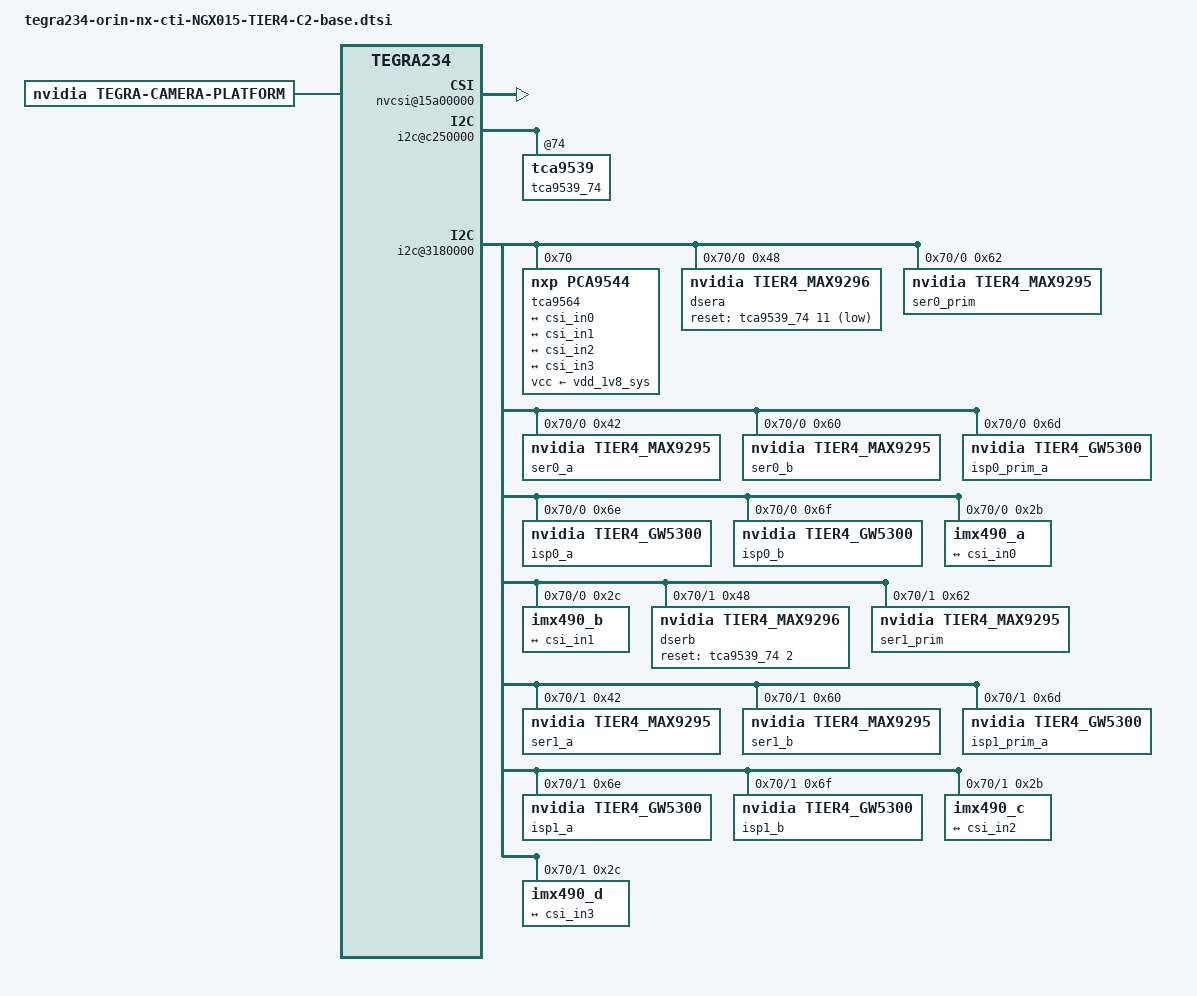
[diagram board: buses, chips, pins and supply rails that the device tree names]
/*
 * Copyright (c) 2022, Connect Tech Inc.  All rights reserved.
 *
 * This program is free software; you can redistribute it and/or modify it
 * under the terms and conditions of the GNU General Public License,
 * version 2, as published by the Free Software Foundation.
 *
 * This program is distributed in the hope it will be useful, but WITHOUT
 * ANY WARRANTY; without even the implied warranty of MERCHANTABILITY or
 * FITNESS FOR A PARTICULAR PURPOSE.  See the GNU General Public License for
 * more details.
 *
 * You should have received a copy of the GNU General Public License
 * along with this program.  If not, see <http://www.gnu.org/licenses/>.
 */

#include "dt-bindings/clock/tegra234-clock.h"

#define CAM_LANES 4
#define NUM_LANES "4"
#define BUS_WIDTH 4

//fsync modes
#define MASTER_MODE_10FPS 0
#define SLAVE_MODE_10FPS  1
#define MASTER_MODE_20FPS 2
#define SLAVE_MODE_20FPS  3
#define MASTER_MODE_30FPS 4
#define SLAVE_MODE_30FPS  5
#define SLAVE_MODE_10FPS_SLOW 6
#define MASTER_MODE_10FPS_SLOW 7

#define VC_ID0 "0"
#define VC_ID1 "1"
#define VC_ID0_PORTS 0 
#define VC_ID1_PORTS 1
#define DES_MCLK_MHZ 2000 
#define SERDES_PIX_CLK_HZ "500000000" 
#define SENSOR_MODE0 mode0 { \
                vc_id = VC_ID; \
                num_lanes = NUM_LANES; \
                tegra_sinterface = TEGRA_SINTERFACE; \
                lane_polarity = LANE_POLARITY; \
                mclk_khz = "24000"; \
                discontinuous_clk = "no"; \
                dpcm_enable = "false"; \
                phy_mode = "DPHY"; \
                cil_settletime = "0"; \
                dynamic_pixel_bit_depth = "16"; \
                csi_pixel_bit_depth = "16"; \
                mode_type = "yuv"; \
                pixel_phase = "uyvy"; \
                active_w = "2880"; \
                active_h = "1860"; \
                readout_orientation = "0"; \
                line_length = "2250"; \
                inherent_gain = "1"; \
                pix_clk_hz = "757"; \
                serdes_pix_clk_hz = SERDES_PIX_CLK_HZ; \
                gain_factor = "10"; \
                min_gain_val = "0"; \
                max_gain_val = "300"; \
                step_gain_val = "3"; \
                default_gain = "0"; \
                min_hdr_ratio = "1"; \
                max_hdr_ratio = "1"; \
                framerate_factor = "1000000"; \
                min_framerate = "30000000"; \
                max_framerate = "30000000"; \
                step_framerate = "1"; \
                default_framerate = "30000000"; \
                exposure_factor = "1000000"; \
                min_exp_time = "24"; \
                max_exp_time = "33333"; \
                step_exp_time = "1"; \
                default_exp_time = "33333"; \
                embedded_metadata_height = "0"; \
                deskew_initial_enable = "true"; \
                };

#define SENSOR_COMMON   \
                def-addr = <0x1a>; \
                mclk = "extperiph1"; \
                clocks = <&bpmp 36U>, <&bpmp 36U>; \
                clock-names = "extperiph1","pllp_grtba"; \
                compatible = "nvidia,tier4_imx490"; \
                physical_w = "15.0"; \
                physical_h = "12.5"; \
                sensor_model = "imx490"; \
                fsync-mode = <MASTER_MODE_30FPS>; \
                distortion-correction = "false"; \
                auto-exposure = "true"; \
                post_crop_frame_drop = "0"; \
                use_decibel_gain = "true"; \
                use_sensor_mode_id = "true";

&cti_polaris_coaxA{
    regulator-always-on;
};
&cti_polaris_coaxB{
    regulator-always-on;
};
&cti_polaris_coaxC{
    regulator-always-on;
};
&cti_polaris_coaxD{
    regulator-always-on;
};

/ {

    tegra-capture-vi {
        status = "okay";
        num-channels = <4>;
        ports {
	    #address-cells = <1>;
	    #size-cells = <0>;
	    status = "okay";
            port@0 {
		reg = <0>;
                status = "okay";
                vi_in0: endpoint {
		            vc-id = <VC_ID0_PORTS>;
                    port-index = <0>;
                    status = "okay";
                    bus-width = <4>;
		    remote-endpoint = <&csi_out0>;
                };
            };
            port@1 {
                status = "okay";
                reg = <1>;
                vi_in1: endpoint {
                    vc-id = <VC_ID1_PORTS>;
                    port-index = <0>;
                    status = "okay";
                    bus-width = <4>;
                    remote-endpoint = <&csi_out1>;
                };
            };
            port@2 {
                status = "okay";
                reg = <2>;
                vi_in2: endpoint {
                    vc-id = <VC_ID0_PORTS>;
                    port-index = <2>;
                    status = "okay";
                    bus-width = <4>;
                    remote-endpoint = <&csi_out2>;
                };
                
            };
            port@3 {
                status = "okay";
                reg = <3>;
                vi_in3: endpoint {
                    vc-id = <VC_ID1_PORTS>;
                    port-index = <2>;
                    status = "okay";
                    bus-width = <4>;
                    remote-endpoint = <&csi_out3>;
                };

            };


    };
    };

    host1x@13e00000 {
        nvcsi@15a00000 {
	    num-channels = <4>;
	    #address-cells = <1>;
	    #size-cells = <0>;
            status = "okay";
            channel@0 {
                status = "okay";
		        reg = <0>;
                ports {
		            #address-cells = <1>;
		            #size-cells = <0>;
                    port@0 {
                        status = "okay";
		            	reg = <0>;
                        csi_in0: endpoint@0 {
                            status = "okay";
                            port-index = <0>;
			                bus-width = <4>;
                            remote-endpoint = <&cam_out0>;
                        };
                    };
                    port@1 {
                        status = "okay";
		            	reg = <1>;
                        csi_out0: endpoint@1 {
                            status = "okay";
			                port-index = <0>;
			                bus-width = <4>;
			                remote-endpoint = <&vi_in0>;
                        };
                    };
                };
            };
            channel@1 {
                status = "okay";
            reg = <1>;
            ports {
                #address-cells = <1>;
                #size-cells = <0>;

                port@0 {
                            reg = <0>;
                            status = "okay";
                            csi_in1: endpoint@2 {
                                status = "okay";
                                port-index = <0>;
                                bus-width = <4>;
                                remote-endpoint = <&cam_out1>;
                            };
                        };
                        port@1 {
                            status = "okay";
                              reg = <1>;
                            csi_out1: endpoint@3 {
                                status = "okay";
                    port-index = <0>;
                    bus-width = <4>;
                    remote-endpoint = <&vi_in1>;
                            };
                        };
                    };
                };
            channel@2 {
                status = "okay";
            reg = <2>;
            ports {
                #address-cells = <1>;
                #size-cells = <0>;

                port@0 {
                            reg = <0>;
                            status = "okay";
                            csi_in2: endpoint@4 {
                                status = "okay";
                                port-index = <2>;
                                bus-width = <4>;
                                remote-endpoint = <&cam_out2>;
                            };
                        };
                        port@1 {
                            status = "okay";
                              reg = <1>;
                            csi_out2: endpoint@5 {
                                status = "okay";
                    port-index = <2>;
                    bus-width = <4>;
                    remote-endpoint = <&vi_in2>;
                            };
                        };
                    };
                };
            channel@3{
                status = "okay";
            reg = <3>;
            ports {
                #address-cells = <1>;
                #size-cells = <0>;

                port@0 {
                            reg = <0>;
                            status = "okay";
                            csi_in3: endpoint@6 {
                                status = "okay";
                                port-index = <2>;
                                bus-width = <4>;
                                remote-endpoint = <&cam_out3>;
                            };
                        };
                        port@1 {
                            status = "okay";
                              reg = <1>;
                            csi_out3: endpoint@7 {
                                status = "okay";
                    port-index = <2>;
                    bus-width = <4>;
                    remote-endpoint = <&vi_in3>;
                            };
                        };
                    };
                };

            };
    };
    i2c@c250000 {

        tca9539_74:tca9539@74 {
            gpio-line-names = "RST_A","PWDN_A","RST_B","PWDN_B","TEMP_SNS_PEN","CAM_PRST#_A","CAM_PRST#_B","CAM_PRST#_C", 
            "CAM_PRST#_D", "CFG_CTRL_Nch", "CFG_CTRL_Pch","DES_STATE_RSTA", "DES_STATE_RSTB";
            tca9539_74_outlow {
                status = "okay";
                gpio-hog;
                gpios = <0 0 1 0 2 0 3 0 4 0 9 0 10 0>;
                output-low;
                line-name = "RST_A","PWDN_A","RST_B","PWDN_B","TEMP_SNS_PEN", "CFG_CTRL_Nch", "CFG_CTRL_Pch";
            };
            tca9539_74_outhigh {
                status = "okay";
                gpio-hog;
                gpios = < 5 0 6 0 7 0 8 0 11 0 12 0>;
                output-high;
                line-name = "CAM_PRST#_A","CAM_PRST#_B","CAM_PRST#_C", "CAM_PRST#_D","DES_STATE_RSTA", "DES_STATE_RSTB";
            };
            tca9539_74_input {
                status = "disabled";
            };

        };
    };



    i2c@3180000 {
	status = "okay";
	#address-cells = <1>;
	#size-cells = <0>;
        tca9564@70 {
	    status = "okay";
	    compatible = "nxp,pca9544";
	    reg = <0x70>;
	    #address-cells = <1>;
	    #size-cells = <0>;
	    vcc-supply = <&vdd_1v8_sys>;
	    //skip_mux_detect;
	    force_bus_start = <0x28>;
       i2c@0 {
        status = "okay";
		reg = <0>;
		i2c-mux,deselect-on-exit;
		#address-cells = <1>;
		#size-cells = <0>;

        dsera: max9296@48 {
           compatible = "nvidia,tier4_max9296";
            status = "okay";
            reg = <0x48>;
            csi-mode = "2x4";
            max-src = <2>;

            clk-mhz = <DES_MCLK_MHZ>;
            reset-gpios = <&tca9539_74 11 GPIO_ACTIVE_LOW>;
        };
        ser0_prim: max9295_prim@62 {
            compatible = "nvidia,tier4_max9295";
            reg = <0x62>;
            is-prim-ser;
            status = "okay";
        };
        ser0_a: max9295_a@42 {
            compatible = "nvidia,tier4_max9295";
            reg = <0x42>;
            nvidia,gmsl-dser-device = <&dsera>;
            status = "okay";
            //vc-id = <0>;
        };
        ser0_b: max9295_b@60 {
            compatible = "nvidia,tier4_max9295";
            reg = <0x60>;
            nvidia,gmsl-dser-device = <&dsera>;
            status = "okay";
            //vc-id = <1>;
        };
        isp0_prim_a: gw5300_prim@6d {
            compatible = "nvidia,tier4_gw5300";
            status = "okay";
            reg = <0x6d>;
            is-prim-isp;
        };

        isp0_a: gw5300_a@6e {
            compatible = "nvidia,tier4_gw5300";
            status = "okay";
            reg = <0x6e>;
        };
        isp0_b: gw5300_b@6f {
            compatible = "nvidia,tier4_gw5300";
            status = "okay";
            reg = <0x6f>;
        };





#define LANE_POLARITY "6"
#define TEGRA_SINTERFACE "serial_a"
        imx490_a@2b {            
            nvidia,isp-device = <&isp0_a>;
            nvidia,gmsl-ser-device = <&ser0_a>;
            nvidia,gmsl-dser-device = <&dsera>;
            reg = <0x2b>;
            status = "okay";

            reg_mux = <0>;
           
            SENSOR_COMMON

            #define VC_ID VC_ID0
            SENSOR_MODE0
            
            
            ports {
                #address-cells = <1>;
                #size-cells = <0>;
                port@0 {
                    reg = <0>;
                    cam_out0: endpoint {
                        vc-id = <0>;
                        port-index = <0>;
                        bus-width = <BUS_WIDTH>;
                        remote-endpoint = <&csi_in0>;
                    };
                };
            };
            gmsl-link {
                src-csi-port = "b";     /* Port at which sensor is connected to its serializer device. */
                dst-csi-port = "a";     /* Destination CSI port on the Jetson side, connected at deserializer. */
                serdes-csi-link = "a";  /* GMSL link sensor/serializer connected */
                csi-mode = "1x4";       /*  to sensor CSI mode. */
                st-vc = <0>;            /* Sensor source default VC ID: 0 unless overridden by sensor. */
                vc-id = <0>;            /* Destination VC ID, assigned to sensor stream by deserializer. */
                num-lanes = <BUS_WIDTH>;
                streams = "ued-u1","yuv8"; /* Types of streams sensor is streaming. */
            };
        };
        imx490_b@2c {
            nvidia,isp-device = <&isp0_b>;
            nvidia,gmsl-ser-device = <&ser0_b>;
            nvidia,gmsl-dser-device = <&dsera>;
            reg = <0x2c>;
            status = "okay";
            reg_mux = <0>;

            SENSOR_COMMON

            #undef VC_ID
            #define VC_ID VC_ID1

            SENSOR_MODE0           
            
            ports {
                #address-cells = <1>;
                #size-cells = <0>;
                port@0 {
                    reg = <0>;
                    cam_out1: endpoint {
                        vc-id = <1>;
                        port-index = <0>;
                        bus-width = <BUS_WIDTH>;
                        remote-endpoint = <&csi_in1>;
                    };
                };
            };
            gmsl-link {
                src-csi-port = "b";     /* Port at which sensor is connected to its serializer device. */
                dst-csi-port = "a";     /* Destination CSI port on the Jetson side, connected at deserializer. */
                serdes-csi-link = "b";  /* GMSL link sensor/serializer connected */
                csi-mode = "1x4";       /*  to sensor CSI mode. */
                st-vc = <0>;            /* Sensor source default VC ID: 0 unless overridden by sensor. */
                vc-id = <1>;            /* Destination VC ID, assigned to sensor stream by deserializer. */
                num-lanes = <BUS_WIDTH>;
                streams = "ued-u1","yuv8"; /* Types of streams sensor is streaming. */
            };
        };



       };

       i2c@1 {
        status = "okay";
		reg = <1>;
		i2c-mux,deselect-on-exit;
		#address-cells = <1>;
		#size-cells = <0>;

        dserb: max9296@48 {
            compatible = "nvidia,tier4_max9296";
            status = "okay";
            reg = <0x48>;
            csi-mode = "2x4";
            max-src = <2>;
            clk-mhz = <DES_MCLK_MHZ>;
            reset-gpios = <&tca9539_74 2 GPIO_ACTIVE_HIGH>;
        };

        ser1_prim: max9295_prim@62 {
            compatible = "nvidia,tier4_max9295";
            reg = <0x62>;
            is-prim-ser;
            status = "okay";
        };
        ser1_a: max9295_a@42 {
            compatible = "nvidia,tier4_max9295";
            reg = <0x42>;
            nvidia,gmsl-dser-device = <&dserb>;
            status = "okay";
        };
        ser1_b: max9295_b@60 {
            compatible = "nvidia,tier4_max9295";
            reg = <0x60>;
            nvidia,gmsl-dser-device = <&dserb>;
            status = "okay";
            vc-id = <1>;
        };

        isp1_prim_a: gw5300_prim@6d {
            compatible = "nvidia,tier4_gw5300";
            status = "okay";
            reg = <0x6d>;
            is-prim-isp;
        };
        isp1_a: gw5300_a@6e {
            compatible = "nvidia,tier4_gw5300";
            status = "okay";
            reg = <0x6e>;
        };

        isp1_b: gw5300_b@6f {
            compatible = "nvidia,tier4_gw5300";
            status = "okay";
            reg = <0x6f>;
        };


        #undef LANE_POLARITY
        #undef TEGRA_SINTERFACE
        #define LANE_POLARITY "0"
        #define TEGRA_SINTERFACE "serial_c"

        imx490_c@2b {
            nvidia,isp-device = <&isp1_a>;
            nvidia,gmsl-ser-device = <&ser1_a>;
            nvidia,gmsl-dser-device = <&dserb>;
            reg = <0x2b>;
            status = "okay";

            reg_mux = <1>;
            SENSOR_COMMON

            #undef VC_ID
            #define VC_ID VC_ID0
            SENSOR_MODE0

            ports {
                #address-cells = <1>;
                #size-cells = <0>;
                port@0 {
                    reg = <0>;
                    cam_out2: endpoint {
                        vc-id = <0>;
                        port-index = <2>;
                        bus-width = <BUS_WIDTH>;
                        remote-endpoint = <&csi_in2>;
                    };
                };
            };
            gmsl-link {
                src-csi-port = "b";     /* Port at which sensor is connected to its serializer device. */
                dst-csi-port = "a";     /* Destination CSI port on the Jetson side, connected at deserializer. */
                serdes-csi-link = "a";  /* GMSL link sensor/serializer connected */
                csi-mode = "1x4";       /*  to sensor CSI mode. */
                st-vc = <0>;            /* Sensor source default VC ID: 0 unless overridden by sensor. */
                vc-id = <0>;            /* Destination VC ID, assigned to sensor stream by deserializer. */
                num-lanes = <BUS_WIDTH>;
                streams = "ued-u1","yuv8"; /* Types of streams sensor is streaming. */
            };
        };
            imx490_d@2c {
            nvidia,isp-device = <&isp1_b>;
            nvidia,gmsl-ser-device = <&ser1_b>;
            nvidia,gmsl-dser-device = <&dserb>;
            reg = <0x2c>;
            status = "okay";

            reg_mux = <1>;
            SENSOR_COMMON

            #undef VC_ID
            #define VC_ID VC_ID1
            SENSOR_MODE0
            
            ports {
                #address-cells = <1>;
                #size-cells = <0>;
                port@0 {
                    reg = <0>;
                    cam_out3: endpoint {
                        vc-id = <1>;
                        port-index = <2>;
                        bus-width = <BUS_WIDTH>;
                        remote-endpoint = <&csi_in3>;
                    };
                };
            };
            gmsl-link {
                src-csi-port = "b";     /* Port at which sensor is connected to its serializer device. */
                dst-csi-port = "a";     /* Destination CSI port on the Jetson side, connected at deserializer. */
                serdes-csi-link = "b";  /* GMSL link sensor/serializer connected */
                csi-mode = "1x4";       /*  to sensor CSI mode. */
                st-vc = <1>;            /* Sensor source default VC ID: 0 unless overridden by sensor. */
                vc-id = <1>;            /* Destination VC ID, assigned to sensor stream by deserializer. */
                num-lanes = <BUS_WIDTH>;
                streams = "ued-u1","yuv8"; /* Types of streams sensor is streaming. */
            };
        };


		};
            };
    };
    };

/ {

    tegra-camera-platform {
        num_csi_lanes = <8>;
        max_lane_speed = <1500000>;
        min_bits_per_pixel = <10>;
        vi_peak_byte_per_pixel = <2>;
        vi_bw_margin_pct = <25>;
        isp_peak_byte_per_pixel = <5>;
        isp_bw_margin_pct = <25>;
	compatible = "nvidia, tegra-camera-platform";
	status = "okay";
        
	modules {
            module0 {
                status = "okay";
	        	badge = "imx490_rear_tier4";
		        orientation = "1";
		        position = "rear"; 
                 drivernode0 {
                    status = "okay";
                    pcl_id = "v4l2_sensor";
                    devname = "imx490 40-002b";
                    proc-device-tree = "/proc/device-tree/i2c@3180000/tca9564@70/i2c@0/imx490_a@2b";
                };
            };
            module1 {
                status = "okay";
	        	badge = "imx490_front_tier4";
		        orientation = "1";
		        position = "front"; 
                 drivernode0 {
                    status = "okay";
                    pcl_id = "v4l2_sensor";
                    devname = "imx490 40-002c";
                    proc-device-tree = "/proc/device-tree/i2c@3180000/tca9564@70/i2c@0/imx490_b@2c";
                };
            };
            module2 {
                status = "okay";
	        	badge = "imx490_left_tier4";
		        orientation = "1";
		        position = "left"; 
                 drivernode0 {
                    status = "okay";
                    pcl_id = "v4l2_sensor";
                    devname = "imx490 41-002b";
                    proc-device-tree = "/proc/device-tree/i2c@3180000/tca9564@70/i2c@1/imx490_c@2b";
                };
            };
            module3 {
                status = "okay";
	        	badge = "imx490_right_tier4";
		        orientation = "1";
		        position = "right"; 
                 drivernode0 {
                    status = "okay";
                    pcl_id = "v4l2_sensor";
                    devname = "imx490 41-002c";
                    proc-device-tree = "/proc/device-tree/i2c@3180000/tca9564@70/i2c@1/imx490_d@2c";
                };
            };
        };
    };
};
